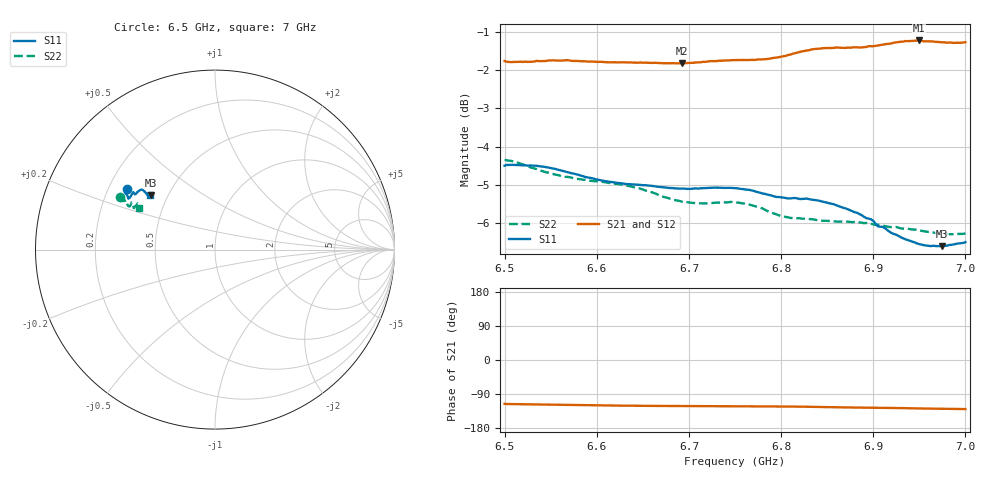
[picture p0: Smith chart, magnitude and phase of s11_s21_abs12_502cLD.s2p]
! MS46122B
! 1919307/90821646
! 7/29/2022 2:56:26 PM
! C:\USERS\PC_\DESKTOP\MEDICIONES\BANCHA ESTRECHA\65_7GHZ\S11_S21_ABS12_502CL.S2P
! CHANNEL.1
! TR.MEASUREMENT
! CORRECTED.DATA
# GHZ S RI R 50.0
! FREQ.GHZ  S11RE  S11IM  S21RE  S21IM  S12RE  S12IM  S22RE  S22IM
!; PortSelection: Port_12
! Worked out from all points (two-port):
!   201 points, 6.5 GHz to 7 GHz, reference 50 ohm
!   highest |S21| = -1.21 dB at 6.95 GHz (marker M1); lowest = -1.8 dB at 6.692 GHz (marker M2)
!   |S21| within 3 dB of the highest: start of sweep to end of sweep
!   lowest |S11| = -6.6 dB at 6.975 GHz (marker M3), VSWR 2.75, Z = 20.3 + j15.6 ohm
!   |S11| at or under -10 dB: nowhere
!   |S22| runs from -6.3 to -4.4 dB; largest |S21 - S12| = 0.012
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6.5  -0.4904 0.3379  -0.3538 -0.7365  -0.3497 -0.7345  -0.5313 0.2914
6.5075  -0.4972 0.3303  -0.3616 -0.7297  -0.3545 -0.7339  -0.5308 0.2883
6.535  -0.5019 0.3201  -0.3751 -0.7264  -0.3654 -0.7309  -0.5214 0.2748
6.55  -0.4999 0.3156  -0.383 -0.7234  -0.3742 -0.7301  -0.5155 0.27
6.585  -0.4898 0.3046  -0.3995 -0.7123  -0.3955 -0.721  -0.5014 0.2728
6.61  -0.4857 0.2946  -0.4072 -0.705  -0.405 -0.7107  -0.495 0.2749
6.6275  -0.4849 0.2888  -0.4118 -0.7021  -0.4103 -0.7066  -0.4927 0.2708
6.6675  -0.4804 0.2852  -0.4211 -0.6944  -0.4208 -0.6976  -0.4854 0.2462
6.6925  -0.4716 0.294  -0.4241 -0.6917  -0.4252 -0.6949  -0.4768 0.2405
6.7325  -0.4589 0.316  -0.4346 -0.6929  -0.4352 -0.6942  -0.4667 0.2568
6.75  -0.456 0.319  -0.4402 -0.6911  -0.4396 -0.692  -0.4641 0.2626
6.7775  -0.4506 0.3129  -0.444 -0.6906  -0.443 -0.6893  -0.4586 0.2544
6.805  -0.4438 0.3076  -0.4488 -0.6983  -0.4473 -0.6967  -0.4536 0.2331
6.82  -0.4375 0.3139  -0.4583 -0.7035  -0.4561 -0.7005  -0.4524 0.2311
6.835  -0.4284 0.3239  -0.4689 -0.7053  -0.4673 -0.7027  -0.4473 0.2373
6.8525  -0.4147 0.3329  -0.4812 -0.7005  -0.4801 -0.6983  -0.439 0.2472
6.8725  -0.4023 0.3323  -0.4913 -0.695  -0.4884 -0.6906  -0.433 0.2555
6.8925  -0.3914 0.324  -0.497 -0.6928  -0.4937 -0.6876  -0.4294 0.2577
6.9175  -0.379 0.3071  -0.51 -0.6934  -0.5036 -0.6889  -0.428 0.2483
6.95  -0.3628 0.2983  -0.5339 -0.6864  -0.523 -0.6841  -0.4287 0.2372
6.975  -0.356 0.302  -0.543 -0.6729  -0.5343 -0.6729  -0.4249 0.2339
7  -0.3594 0.3069  -0.5502 -0.6673  -0.5414 -0.6657  -0.4251 0.2335
